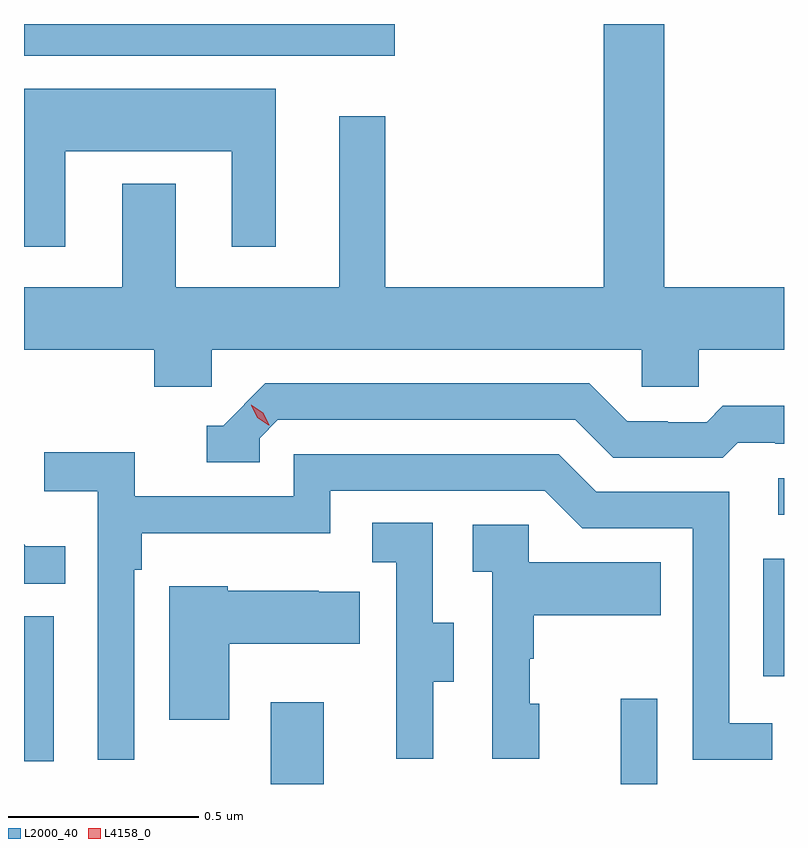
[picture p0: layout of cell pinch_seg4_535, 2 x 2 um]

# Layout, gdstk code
import gdstk
lib = gdstk.Library(unit=1e-6, precision=1e-09)
def R(c, l, rs):  # rectangles x0, y0, x1, y1
    for r in rs: c.add(gdstk.rectangle(r[:2], r[2:], *l))
def P(c, l, *ps):  # polygons
    for p in ps: c.add(gdstk.Polygon(p, *l))
L2000_40 = (2000, 40)
L4158_0 = (4158, 0)

pinch_seg4_535 = lib.new_cell('pinch_seg4_535')
R(pinch_seg4_535, L2000_40, [(1082.249,769.037,1082.389,769.252), (1083.17,769.037,1083.267,769.261), (1081.6,769.097,1081.678,769.479), (1083.546,769.32,1083.6,769.63), (1083.585,769.746,1083.6,769.842), (1081.6,770.954,1082.575,771.037)])
P(pinch_seg4_535, L2000_40, [(1082.094,770.18),(1083.225,770.18),(1083.225,770.082),(1083.375,770.082),(1083.375,770.18),(1083.6,770.18),(1083.6,770.344),(1083.285,770.344),(1083.285,771.037),(1083.125,771.037),(1083.125,770.344),(1082.551,770.344),(1082.551,770.794),(1082.429,770.794),(1082.429,770.344),(1081.999,770.344),(1081.999,770.617),(1081.859,770.617),(1081.859,770.344),(1081.6,770.344),(1081.6,770.18),(1081.943,770.18),(1081.943,770.082),(1082.094,770.082)],
  [(1081.708,770.702),(1082.147,770.702),(1082.147,770.451),(1082.263,770.451),(1082.263,770.866),(1081.6,770.866),(1081.6,770.451),(1081.708,770.451)],
  [(1082.22,769.947),(1082.268,769.995),(1083.051,769.995),(1083.15,769.896),(1083.439,769.896),(1083.478,769.935),(1083.577,769.935),(1083.577,769.932),(1083.6,769.932),(1083.6,770.032),(1083.439,770.032),(1083.397,769.989),(1083.294,769.989),(1083.294,769.992),(1083.187,769.992),(1083.088,770.091),(1082.235,770.091),(1082.124,769.98),(1082.081,769.98),(1082.081,769.884),(1082.22,769.884)],
  [(1081.89,769.601),(1081.91,769.601),(1081.91,769.697),(1082.406,769.697),(1082.406,769.809),(1082.97,769.809),(1083.069,769.71),(1083.36,769.71),(1083.36,769.101),(1083.569,769.101),(1083.569,769.197),(1083.456,769.197),(1083.456,769.806),(1083.106,769.806),(1083.007,769.905),(1082.31,769.905),(1082.31,769.794),(1081.892,769.794),(1081.892,769.91),(1081.653,769.91),(1081.653,769.808),(1081.794,769.808),(1081.794,769.101),(1081.89,769.101)],
  [(1082.677,769.306),(1082.731,769.306),(1082.731,769.461),(1082.676,769.461),(1082.676,769.724),(1082.517,769.724),(1082.517,769.621),(1082.58,769.621),(1082.58,769.317),(1082.579,769.317),(1082.579,769.104),(1082.677,769.104)],
  [(1082.956,769.248),(1082.931,769.248),(1082.931,769.367),(1082.941,769.367),(1082.941,769.481),(1083.275,769.481),(1083.275,769.621),(1082.928,769.621),(1082.928,769.719),(1082.781,769.719),(1082.781,769.595),(1082.832,769.595),(1082.832,769.104),(1082.956,769.104)],
  [(1081.709,769.663),(1081.605,769.663),(1081.6,769.668),(1081.6,769.564),(1081.709,769.564)],
  [(1082.14,769.406),(1082.483,769.406),(1082.483,769.543),(1082.375,769.543),(1082.375,769.546),(1082.136,769.546),(1082.136,769.558),(1081.982,769.558),(1081.982,769.206),(1082.14,769.206)])
P(pinch_seg4_535, L4158_0, [(1082.244,769.981),(1082.214,770.001),(1082.198,770.034),(1082.198,770.035),(1082.198,770.035),(1082.229,770.014),(1082.245,769.981),(1082.245,769.981)])

lib.write_gds('pinch_seg4_535.gds')
